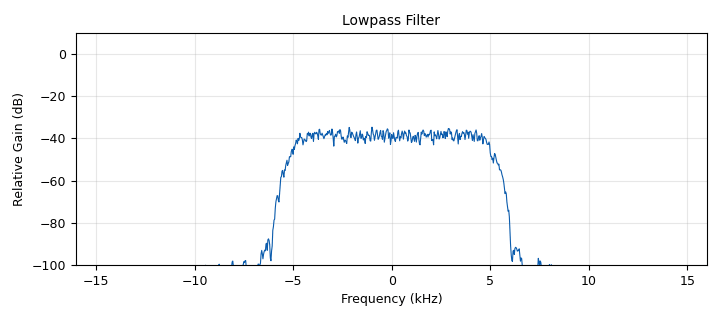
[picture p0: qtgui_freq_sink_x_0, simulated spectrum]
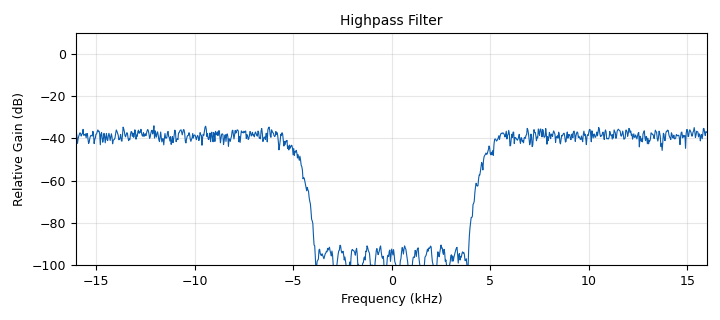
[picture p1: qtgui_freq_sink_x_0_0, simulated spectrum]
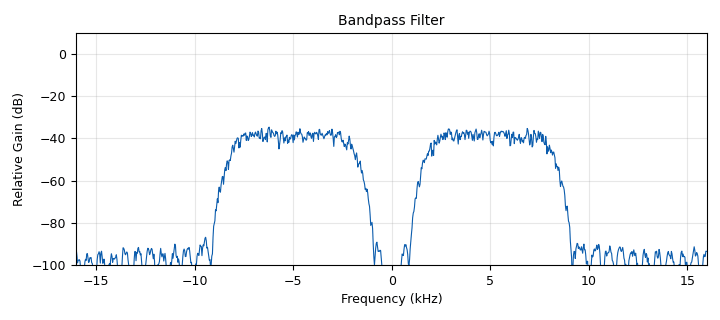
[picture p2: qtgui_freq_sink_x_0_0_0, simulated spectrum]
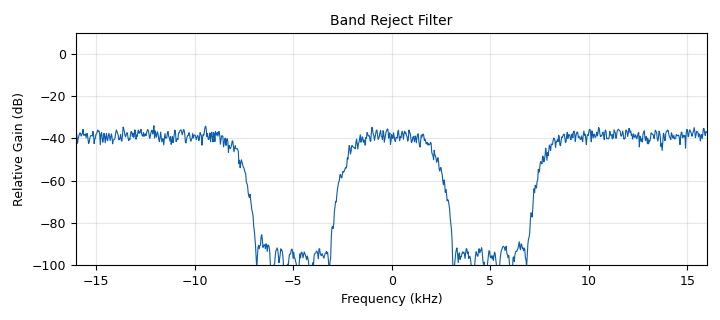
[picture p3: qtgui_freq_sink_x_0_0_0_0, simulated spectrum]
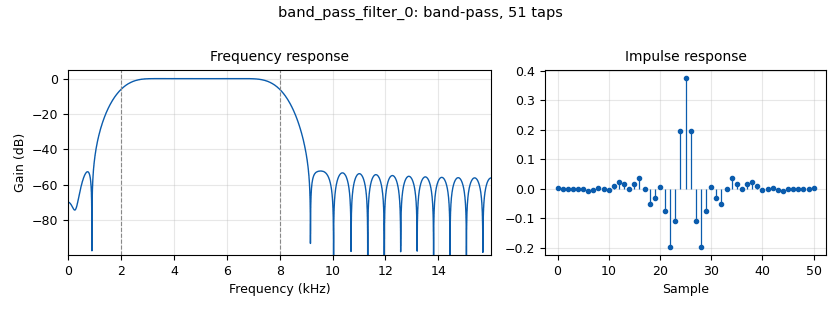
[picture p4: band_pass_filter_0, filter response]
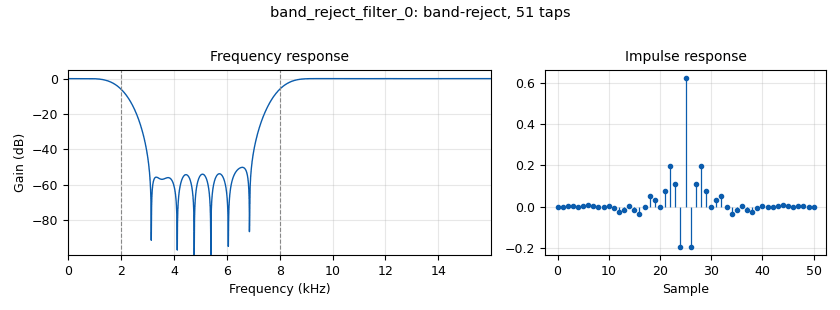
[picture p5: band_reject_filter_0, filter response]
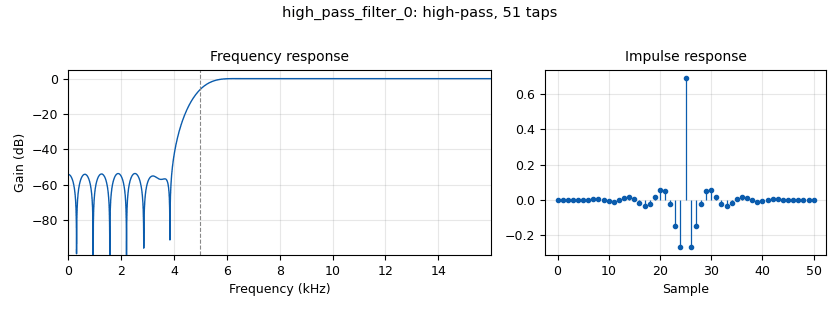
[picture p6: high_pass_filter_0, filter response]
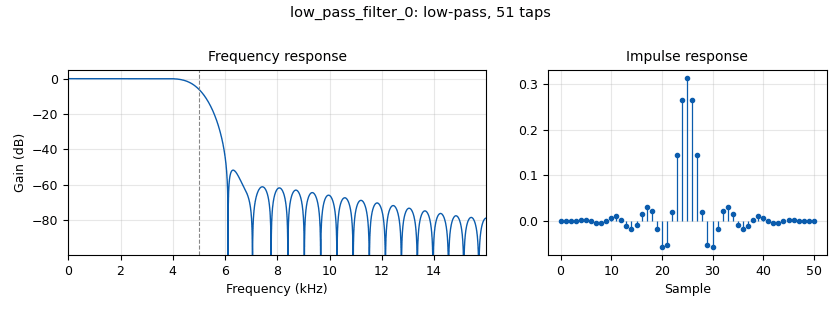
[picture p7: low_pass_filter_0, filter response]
options:
  parameters:
    author: Qasim Chaudhari
    generate_options: qt_gui
    id: lowpass_filter
    output_language: python
    title: Lowpass Filter
  states: {}

blocks:
- name: cutoff_freq
  id: variable_qtgui_range
  parameters:
    gui_hint: 0,0,1,1
    label: Cutoff Frequency
    orient: Qt.Horizontal
    start: '1000'
    step: '500'
    stop: '10000'
    value: '5000'
  states: {}
- name: samp_rate
  id: variable
  parameters:
    value: '32000'
  states: {}
- name: transition_bw
  id: variable_qtgui_range
  parameters:
    gui_hint: 0,1,1,1
    label: Transition BW
    orient: Qt.Horizontal
    start: '500'
    step: '100'
    stop: '3000'
    value: '1500'
  states: {}
- name: analog_noise_source_x_0
  id: analog_noise_source_x
  parameters:
    amp: '1'
    noise_type: analog.GR_GAUSSIAN
    seed: '0'
    type: complex
  states: {}
- name: band_pass_filter_0
  id: band_pass_filter
  parameters:
    decim: '1'
    gain: '1'
    high_cutoff_freq: cutoff_freq+3000
    low_cutoff_freq: cutoff_freq-3000
    samp_rate: samp_rate
    type: fir_filter_ccf
    width: transition_bw
    win: firdes.WIN_HAMMING
  states: {}
- name: band_reject_filter_0
  id: band_reject_filter
  parameters:
    decim: '1'
    gain: '1'
    high_cutoff_freq: cutoff_freq+3000
    low_cutoff_freq: cutoff_freq-3000
    samp_rate: samp_rate
    type: fir_filter_ccf
    width: transition_bw
    win: firdes.WIN_HAMMING
  states: {}
- name: blocks_throttle_0
  id: blocks_throttle
  parameters:
    samples_per_second: samp_rate
    type: complex
  states: {}
- name: high_pass_filter_0
  id: high_pass_filter
  parameters:
    cutoff_freq: cutoff_freq
    decim: '1'
    gain: '1'
    samp_rate: samp_rate
    type: fir_filter_ccf
    width: transition_bw
    win: firdes.WIN_HAMMING
  states: {}
- name: low_pass_filter_0
  id: low_pass_filter
  parameters:
    cutoff_freq: cutoff_freq
    decim: '1'
    gain: '1'
    samp_rate: samp_rate
    type: fir_filter_ccf
    width: transition_bw
    win: firdes.WIN_HAMMING
  states: {}
- name: qtgui_freq_sink_x_0
  id: qtgui_freq_sink_x
  parameters:
    average: '0.2'
    bw: samp_rate
    fc: '0'
    fftsize: '1024'
    grid: 'True'
    gui_hint: 1,0,1,1
    legend: 'False'
    name: Lowpass Filter
    type: complex
    wintype: firdes.WIN_BLACKMAN_hARRIS
    ymin: '-100'
  states: {}
- name: qtgui_freq_sink_x_0_0
  id: qtgui_freq_sink_x
  parameters:
    average: '0.2'
    bw: samp_rate
    fc: '0'
    fftsize: '1024'
    grid: 'True'
    gui_hint: 1,1,1,1
    legend: 'False'
    name: Highpass Filter
    type: complex
    wintype: firdes.WIN_BLACKMAN_hARRIS
    ymin: '-100'
  states: {}
- name: qtgui_freq_sink_x_0_0_0
  id: qtgui_freq_sink_x
  parameters:
    average: '0.2'
    bw: samp_rate
    fc: '0'
    fftsize: '1024'
    grid: 'True'
    gui_hint: 2,0,1,1
    legend: 'False'
    name: Bandpass Filter
    type: complex
    wintype: firdes.WIN_BLACKMAN_hARRIS
    ymin: '-100'
  states: {}
- name: qtgui_freq_sink_x_0_0_0_0
  id: qtgui_freq_sink_x
  parameters:
    average: '0.2'
    bw: samp_rate
    fc: '0'
    fftsize: '1024'
    grid: 'True'
    gui_hint: 2,1,1,1
    legend: 'False'
    name: Band Reject Filter
    type: complex
    wintype: firdes.WIN_BLACKMAN_hARRIS
    ymin: '-100'
  states: {}

connections:
- [analog_noise_source_x_0, '0', blocks_throttle_0, '0']
- [band_pass_filter_0, '0', qtgui_freq_sink_x_0_0_0, '0']
- [band_reject_filter_0, '0', qtgui_freq_sink_x_0_0_0_0, '0']
- [blocks_throttle_0, '0', band_pass_filter_0, '0']
- [blocks_throttle_0, '0', band_reject_filter_0, '0']
- [blocks_throttle_0, '0', high_pass_filter_0, '0']
- [blocks_throttle_0, '0', low_pass_filter_0, '0']
- [high_pass_filter_0, '0', qtgui_freq_sink_x_0_0, '0']
- [low_pass_filter_0, '0', qtgui_freq_sink_x_0, '0']

metadata:
  file_format: 1
